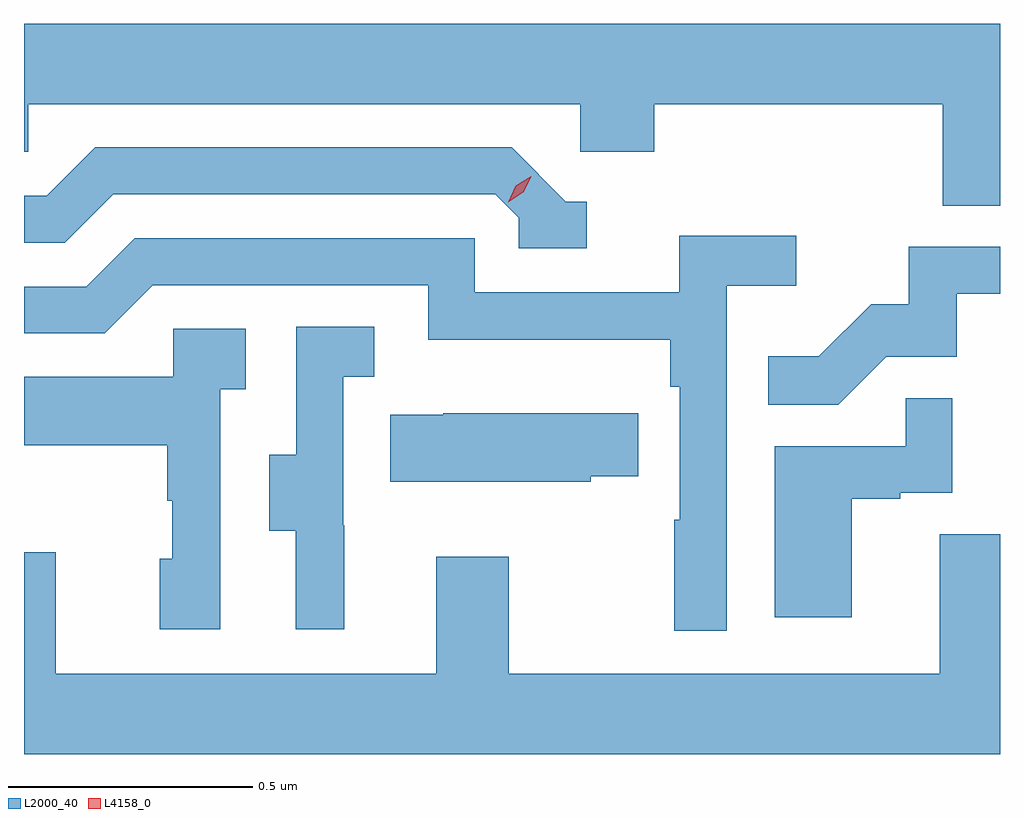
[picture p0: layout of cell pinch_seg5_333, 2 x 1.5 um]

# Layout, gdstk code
import gdstk
lib = gdstk.Library(unit=1e-6, precision=1e-09)
def P(c, l, *ps):  # polygons
    for p in ps: c.add(gdstk.Polygon(p, *l))
L2000_40 = (2000, 40)
L4158_0 = (4158, 0)

pinch_seg5_333 = lib.new_cell('pinch_seg5_333')
P(pinch_seg5_333, L2000_40, [(934.592,882.232),(932.592,882.232),(932.592,881.97),(932.601,881.97),(932.601,882.068),(933.732,882.068),(933.732,881.97),(933.884,881.97),(933.884,882.068),(934.475,882.068),(934.475,881.86),(934.592,881.86)],
  [(933.745,881.868),(933.702,881.868),(933.591,881.979),(932.738,881.979),(932.639,881.88),(932.592,881.88),(932.592,881.784),(932.676,881.784),(932.775,881.883),(933.558,881.883),(933.606,881.835),(933.606,881.772),(933.745,881.772)],
  [(934.032,881.696),(934.174,881.696),(934.174,881.798),(933.935,881.798),(933.935,881.682),(933.516,881.682),(933.516,881.793),(932.819,881.793),(932.72,881.694),(932.592,881.694),(932.592,881.598),(932.757,881.598),(932.856,881.697),(933.42,881.697),(933.42,881.585),(933.916,881.585),(933.916,881.489),(933.936,881.489),(933.936,881.216),(933.924,881.216),(933.924,880.989),(934.032,880.989)],
  [(934.359,881.55),(934.503,881.55),(934.503,881.679),(934.592,881.679),(934.592,881.775),(934.405,881.775),(934.405,881.658),(934.328,881.658),(934.221,881.551),(934.117,881.551),(934.117,881.452),(934.261,881.452)],
  [(933.248,881.205),(933.246,881.205),(933.246,881.509),(933.31,881.509),(933.31,881.612),(933.15,881.612),(933.15,881.349),(933.095,881.349),(933.095,881.194),(933.149,881.194),(933.149,880.992),(933.248,880.992)],
  [(932.994,881.483),(933.046,881.483),(933.046,881.607),(932.898,881.607),(932.898,881.509),(932.592,881.509),(932.592,881.369),(932.886,881.369),(932.886,881.255),(932.896,881.255),(932.896,881.136),(932.87,881.136),(932.87,880.992),(932.994,880.992)],
  [(934.288,881.259),(934.388,881.259),(934.388,881.271),(934.494,881.271),(934.494,881.465),(934.399,881.465),(934.399,881.367),(934.13,881.367),(934.13,881.016),(934.288,881.016)],
  [(933.753,881.305),(933.851,881.305),(933.851,881.434),(933.451,881.434),(933.451,881.431),(933.343,881.431),(933.343,881.294),(933.753,881.294)],
  [(934.592,881.186),(934.469,881.186),(934.469,880.9),(933.585,880.9),(933.585,881.14),(933.437,881.14),(933.437,880.9),(932.657,880.9),(932.657,881.149),(932.592,881.149),(932.592,880.736),(934.592,880.736)])
P(pinch_seg5_333, L4158_0, [(933.584,881.867),(933.584,881.867),(933.6,881.9),(933.631,881.92),(933.631,881.92),(933.631,881.919),(933.615,881.887),(933.584,881.867)])

lib.write_gds('pinch_seg5_333.gds')
